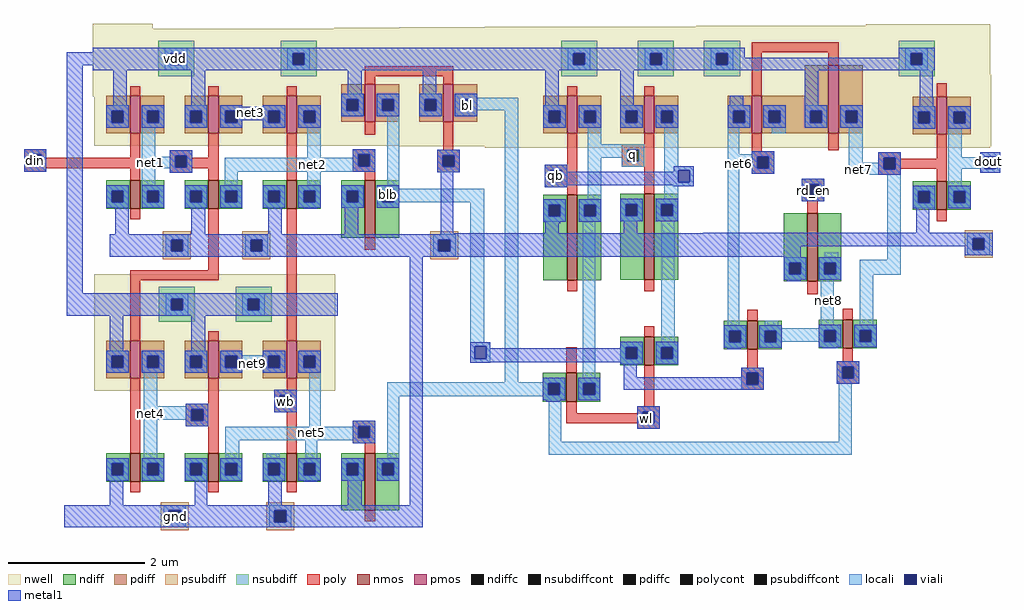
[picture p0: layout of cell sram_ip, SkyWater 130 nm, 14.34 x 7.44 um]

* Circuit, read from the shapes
.subckt sram_ip din wb gnd vdd blb bl qb q wl rd_en dout
XM1 net4 net1 gnd gnd sky130_fd_pr__nfet_01v8 w=0.42 l=0.15
XM2 net1 din gnd gnd sky130_fd_pr__nfet_01v8 w=0.42 l=0.15
XM3 net5 net4 gnd gnd sky130_fd_pr__nfet_01v8 w=0.42 l=0.15
XM4 net2 net1 gnd gnd sky130_fd_pr__nfet_01v8 w=0.42 l=0.15
XM5 net5 wb gnd gnd sky130_fd_pr__nfet_01v8 w=0.42 l=0.15
XM6 net2 wb gnd gnd sky130_fd_pr__nfet_01v8 w=0.42 l=0.15
XM7 bl net5 gnd gnd sky130_fd_pr__nfet_01v8 w=0.84 l=0.15
XM8 blb net2 gnd gnd sky130_fd_pr__nfet_01v8 w=0.84 l=0.15
XM9 q wl bl gnd sky130_fd_pr__nfet_01v8 w=0.42 l=0.15
XM10 q qb gnd gnd sky130_fd_pr__nfet_01v8 w=1.26 l=0.15
XM11 qb wl blb gnd sky130_fd_pr__nfet_01v8 w=0.42 l=0.15
XM12 qb q gnd gnd sky130_fd_pr__nfet_01v8 w=1.26 l=0.15
XM13 net8 blb net6 gnd sky130_fd_pr__nfet_01v8 w=0.42 l=0.15
XM14 net8 rd_en gnd gnd sky130_fd_pr__nfet_01v8 w=1 l=0.15
XM15 net7 bl net8 gnd sky130_fd_pr__nfet_01v8 w=0.42 l=0.15
XM16 dout net7 gnd gnd sky130_fd_pr__nfet_01v8 w=0.42 l=0.15
XM17 net4 net1 vdd vdd sky130_fd_pr__pfet_01v8 w=0.55 l=0.15
XM18 net1 din vdd vdd sky130_fd_pr__pfet_01v8 w=0.55 l=0.15
XM19 net9 net4 vdd vdd sky130_fd_pr__pfet_01v8 w=0.55 l=0.15
XM20 net3 net1 vdd vdd sky130_fd_pr__pfet_01v8 w=0.55 l=0.15
XM21 net5 wb net9 vdd sky130_fd_pr__pfet_01v8 w=0.55 l=0.15
XM22 net2 wb net3 vdd sky130_fd_pr__pfet_01v8 w=0.55 l=0.15
XM23 blb gnd vdd vdd sky130_fd_pr__pfet_01v8 w=0.55 l=0.15
XM24 bl gnd vdd vdd sky130_fd_pr__pfet_01v8 w=0.55 l=0.15
XM25 q qb vdd vdd sky130_fd_pr__pfet_01v8 w=0.55 l=0.15
XM26 qb q vdd vdd sky130_fd_pr__pfet_01v8 w=0.55 l=0.15
XM27 vdd net6 net6 vdd sky130_fd_pr__pfet_01v8 w=0.55 l=0.15
XM28 net7 net6 vdd vdd sky130_fd_pr__pfet_01v8 w=1 l=0.15
XM29 dout net7 vdd vdd sky130_fd_pr__pfet_01v8 w=0.55 l=0.15
.ends

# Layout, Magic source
magic
tech sky130A
<< nwell >>
rect -10 285 78 292
rect 1126 289 1309 291
rect 877 288 1309 289
rect 566 287 1309 288
rect 441 286 1309 287
rect 345 285 1309 286
rect -10 217 1309 285
rect -10 185 1310 217
rect -8 113 1310 185
rect 440 112 1310 113
rect 566 110 1309 112
rect -8 -247 346 -76
<< nmos >>
rect 45 20 60 62
rect 160 20 175 62
rect 275 20 290 62
rect 390 -22 405 62
rect 687 -85 702 41
rect 800 -84 815 42
rect 1230 19 1245 61
rect 1040 -86 1055 14
rect 800 -210 815 -168
rect 952 -186 967 -144
rect 1092 -185 1107 -143
rect 686 -263 701 -221
rect 45 -381 60 -339
rect 160 -381 175 -339
rect 275 -381 290 -339
rect 390 -423 405 -339
<< pmos >>
rect 45 131 60 186
rect 160 131 175 186
rect 275 131 290 186
rect 390 148 405 203
rect 505 148 520 203
rect 687 131 702 186
rect 800 131 815 186
rect 958 131 973 186
rect 1071 131 1086 231
rect 1230 130 1245 185
rect 45 -229 60 -174
rect 160 -229 175 -174
rect 275 -229 290 -174
<< ndiff >>
rect 10 47 45 62
rect 10 30 18 47
rect 35 30 45 47
rect 10 20 45 30
rect 60 47 95 62
rect 60 30 70 47
rect 87 30 95 47
rect 60 20 95 30
rect 125 47 160 62
rect 125 30 133 47
rect 150 30 160 47
rect 125 20 160 30
rect 175 47 210 62
rect 175 30 185 47
rect 202 30 210 47
rect 175 20 210 30
rect 240 47 275 62
rect 240 30 248 47
rect 265 30 275 47
rect 240 20 275 30
rect 290 47 325 62
rect 290 30 300 47
rect 317 30 325 47
rect 290 20 325 30
rect 355 47 390 62
rect 355 30 363 47
rect 380 30 390 47
rect 355 -22 390 30
rect 405 47 440 62
rect 405 30 415 47
rect 432 30 440 47
rect 405 -22 440 30
rect 652 26 687 41
rect 652 9 660 26
rect 677 9 687 26
rect 652 -85 687 9
rect 702 26 737 41
rect 702 9 712 26
rect 729 9 737 26
rect 702 -85 737 9
rect 765 27 800 42
rect 765 10 773 27
rect 790 10 800 27
rect 765 -84 800 10
rect 815 27 850 42
rect 1195 46 1230 61
rect 815 10 825 27
rect 842 10 850 27
rect 1195 29 1203 46
rect 1220 29 1230 46
rect 1195 19 1230 29
rect 1245 46 1280 61
rect 1245 29 1255 46
rect 1272 29 1280 46
rect 1245 19 1280 29
rect 815 -84 850 10
rect 1005 -59 1040 14
rect 1005 -76 1013 -59
rect 1030 -76 1040 -59
rect 1005 -86 1040 -76
rect 1055 -59 1090 14
rect 1055 -76 1065 -59
rect 1082 -76 1090 -59
rect 1055 -86 1090 -76
rect 917 -159 952 -144
rect 765 -183 800 -168
rect 765 -200 773 -183
rect 790 -200 800 -183
rect 765 -210 800 -200
rect 815 -183 850 -168
rect 815 -200 825 -183
rect 842 -200 850 -183
rect 917 -176 925 -159
rect 942 -176 952 -159
rect 917 -186 952 -176
rect 967 -159 1002 -144
rect 967 -176 977 -159
rect 994 -176 1002 -159
rect 967 -186 1002 -176
rect 1057 -158 1092 -143
rect 1057 -175 1065 -158
rect 1082 -175 1092 -158
rect 1057 -185 1092 -175
rect 1107 -158 1142 -143
rect 1107 -175 1117 -158
rect 1134 -175 1142 -158
rect 1107 -185 1142 -175
rect 815 -210 850 -200
rect 651 -236 686 -221
rect 651 -253 659 -236
rect 676 -253 686 -236
rect 651 -263 686 -253
rect 701 -236 736 -221
rect 701 -253 711 -236
rect 728 -253 736 -236
rect 701 -263 736 -253
rect 10 -354 45 -339
rect 10 -371 18 -354
rect 35 -371 45 -354
rect 10 -381 45 -371
rect 60 -354 95 -339
rect 60 -371 70 -354
rect 87 -371 95 -354
rect 60 -381 95 -371
rect 125 -354 160 -339
rect 125 -371 133 -354
rect 150 -371 160 -354
rect 125 -381 160 -371
rect 175 -354 210 -339
rect 175 -371 185 -354
rect 202 -371 210 -354
rect 175 -381 210 -371
rect 240 -354 275 -339
rect 240 -371 248 -354
rect 265 -371 275 -354
rect 240 -381 275 -371
rect 290 -354 325 -339
rect 290 -371 300 -354
rect 317 -371 325 -354
rect 290 -381 325 -371
rect 355 -354 390 -339
rect 355 -371 363 -354
rect 380 -371 390 -354
rect 355 -423 390 -371
rect 405 -354 440 -339
rect 405 -371 415 -354
rect 432 -371 440 -354
rect 405 -423 440 -371
<< pdiff >>
rect 10 164 45 186
rect 10 147 18 164
rect 35 147 45 164
rect 10 131 45 147
rect 60 164 95 186
rect 60 147 70 164
rect 87 147 95 164
rect 60 131 95 147
rect 125 164 160 186
rect 125 147 133 164
rect 150 147 160 164
rect 125 131 160 147
rect 175 164 210 186
rect 175 147 185 164
rect 202 147 210 164
rect 175 131 210 147
rect 240 164 275 186
rect 240 147 248 164
rect 265 147 275 164
rect 240 131 275 147
rect 290 164 325 186
rect 290 147 300 164
rect 317 147 325 164
rect 355 181 390 203
rect 355 164 363 181
rect 380 164 390 181
rect 355 148 390 164
rect 405 181 440 203
rect 405 164 415 181
rect 432 164 440 181
rect 405 148 440 164
rect 470 181 505 203
rect 470 164 478 181
rect 495 164 505 181
rect 470 148 505 164
rect 520 181 555 203
rect 1036 186 1071 231
rect 520 164 530 181
rect 547 164 555 181
rect 520 148 555 164
rect 652 164 687 186
rect 290 131 325 147
rect 652 147 660 164
rect 677 147 687 164
rect 652 131 687 147
rect 702 164 737 186
rect 702 147 712 164
rect 729 147 737 164
rect 702 131 737 147
rect 765 164 800 186
rect 765 147 773 164
rect 790 147 800 164
rect 765 131 800 147
rect 815 164 850 186
rect 815 147 825 164
rect 842 147 850 164
rect 815 131 850 147
rect 923 164 958 186
rect 923 147 931 164
rect 948 147 958 164
rect 923 131 958 147
rect 973 164 1071 186
rect 973 147 983 164
rect 1000 147 1044 164
rect 1061 147 1071 164
rect 973 131 1071 147
rect 1086 164 1121 231
rect 1086 147 1096 164
rect 1113 147 1121 164
rect 1086 131 1121 147
rect 1195 163 1230 185
rect 1195 146 1203 163
rect 1220 146 1230 163
rect 1195 130 1230 146
rect 1245 163 1280 185
rect 1245 146 1255 163
rect 1272 146 1280 163
rect 1245 130 1280 146
rect 10 -196 45 -174
rect 10 -213 18 -196
rect 35 -213 45 -196
rect 10 -229 45 -213
rect 60 -196 95 -174
rect 60 -213 70 -196
rect 87 -213 95 -196
rect 60 -229 95 -213
rect 125 -196 160 -174
rect 125 -213 133 -196
rect 150 -213 160 -196
rect 125 -229 160 -213
rect 175 -196 210 -174
rect 175 -213 185 -196
rect 202 -213 210 -196
rect 175 -229 210 -213
rect 240 -196 275 -174
rect 240 -213 248 -196
rect 265 -213 275 -196
rect 240 -229 275 -213
rect 290 -196 325 -174
rect 290 -213 300 -196
rect 317 -213 325 -196
rect 290 -229 325 -213
<< ndiffc >>
rect 18 30 35 47
rect 70 30 87 47
rect 133 30 150 47
rect 185 30 202 47
rect 248 30 265 47
rect 300 30 317 47
rect 363 30 380 47
rect 415 30 432 47
rect 660 9 677 26
rect 712 9 729 26
rect 773 10 790 27
rect 825 10 842 27
rect 1203 29 1220 46
rect 1255 29 1272 46
rect 1013 -76 1030 -59
rect 1065 -76 1082 -59
rect 773 -200 790 -183
rect 825 -200 842 -183
rect 925 -176 942 -159
rect 977 -176 994 -159
rect 1065 -175 1082 -158
rect 1117 -175 1134 -158
rect 659 -253 676 -236
rect 711 -253 728 -236
rect 18 -371 35 -354
rect 70 -371 87 -354
rect 133 -371 150 -354
rect 185 -371 202 -354
rect 248 -371 265 -354
rect 300 -371 317 -354
rect 363 -371 380 -354
rect 415 -371 432 -354
<< pdiffc >>
rect 18 147 35 164
rect 70 147 87 164
rect 133 147 150 164
rect 185 147 202 164
rect 248 147 265 164
rect 300 147 317 164
rect 363 164 380 181
rect 415 164 432 181
rect 478 164 495 181
rect 530 164 547 181
rect 660 147 677 164
rect 712 147 729 164
rect 773 147 790 164
rect 825 147 842 164
rect 931 147 948 164
rect 983 147 1000 164
rect 1044 147 1061 164
rect 1096 147 1113 164
rect 1203 146 1220 163
rect 1255 146 1272 163
rect 18 -213 35 -196
rect 70 -213 87 -196
rect 133 -213 150 -196
rect 185 -213 202 -196
rect 248 -213 265 -196
rect 300 -213 317 -196
<< psubdiff >>
rect 93 -25 134 -13
rect 93 -42 105 -25
rect 122 -42 134 -25
rect 93 -54 134 -42
rect 210 -25 251 -13
rect 210 -42 222 -25
rect 239 -42 251 -25
rect 210 -54 251 -42
rect 486 -25 527 -13
rect 486 -42 498 -25
rect 515 -42 527 -25
rect 486 -54 527 -42
rect 1271 -23 1312 -11
rect 1271 -40 1283 -23
rect 1300 -40 1312 -23
rect 1271 -52 1312 -40
rect 90 -423 131 -411
rect 90 -440 102 -423
rect 119 -440 131 -423
rect 90 -452 131 -440
rect 245 -423 286 -411
rect 245 -440 257 -423
rect 274 -440 286 -423
rect 245 -452 286 -440
<< nsubdiff >>
rect 86 249 139 267
rect 86 232 104 249
rect 121 232 139 249
rect 86 215 139 232
rect 266 249 319 267
rect 266 232 284 249
rect 301 232 319 249
rect 266 215 319 232
rect 678 249 731 267
rect 678 232 696 249
rect 713 232 731 249
rect 678 215 731 232
rect 791 249 844 267
rect 791 232 809 249
rect 826 232 844 249
rect 791 215 844 232
rect 888 249 941 267
rect 888 232 906 249
rect 923 232 941 249
rect 888 215 941 232
rect 1174 249 1227 267
rect 1174 232 1192 249
rect 1209 232 1227 249
rect 1174 215 1227 232
rect 87 -112 140 -94
rect 87 -129 105 -112
rect 122 -129 140 -112
rect 87 -146 140 -129
rect 200 -112 253 -94
rect 200 -129 218 -112
rect 235 -129 253 -112
rect 200 -146 253 -129
<< psubdiffcont >>
rect 105 -42 122 -25
rect 222 -42 239 -25
rect 498 -42 515 -25
rect 1283 -40 1300 -23
rect 102 -440 119 -423
rect 257 -440 274 -423
<< nsubdiffcont >>
rect 104 232 121 249
rect 284 232 301 249
rect 696 232 713 249
rect 809 232 826 249
rect 906 232 923 249
rect 1192 232 1209 249
rect 105 -129 122 -112
rect 218 -129 235 -112
<< poly >>
rect 390 215 520 230
rect 958 250 1086 265
rect 390 203 405 215
rect 505 203 520 215
rect 45 186 60 200
rect 160 186 175 200
rect 275 186 290 200
rect 687 186 702 200
rect 800 186 815 200
rect 958 186 973 250
rect 1071 231 1086 250
rect -111 100 -78 108
rect -111 83 -103 100
rect -86 95 -78 100
rect 45 95 60 131
rect -86 83 60 95
rect -111 80 60 83
rect -111 75 -78 80
rect 45 62 60 80
rect 103 98 136 106
rect 103 81 111 98
rect 128 95 136 98
rect 160 95 175 131
rect 128 81 175 95
rect 103 80 175 81
rect 103 73 136 80
rect 160 62 175 80
rect 275 62 290 131
rect 390 129 405 148
rect 372 100 405 108
rect 505 107 520 148
rect 1230 185 1245 205
rect 372 83 380 100
rect 397 83 405 100
rect 372 75 405 83
rect 390 62 405 75
rect 496 99 529 107
rect 496 82 504 99
rect 521 82 529 99
rect 687 85 702 131
rect 800 115 815 131
rect 496 74 529 82
rect 654 77 702 85
rect 767 107 815 115
rect 767 90 775 107
rect 792 90 815 107
rect 767 82 815 90
rect 45 5 60 20
rect 160 -70 175 20
rect 45 -85 175 -70
rect 45 -174 60 -85
rect 160 -174 175 -160
rect 275 -174 290 20
rect 654 60 662 77
rect 679 60 702 77
rect 654 52 702 60
rect 687 41 702 52
rect 800 42 815 82
rect 958 105 973 131
rect 1071 106 1086 131
rect 958 97 991 105
rect 958 80 966 97
rect 983 80 991 97
rect 958 72 991 80
rect 1144 95 1177 103
rect 1144 78 1152 95
rect 1169 94 1177 95
rect 1230 94 1245 130
rect 1169 79 1245 94
rect 1169 78 1177 79
rect 1144 70 1177 78
rect 1032 56 1065 64
rect 1230 61 1245 79
rect 390 -40 405 -22
rect 1032 39 1040 56
rect 1057 39 1065 56
rect 1032 31 1065 39
rect 1040 14 1055 31
rect 687 -101 702 -85
rect 800 -101 815 -84
rect 1230 2 1245 19
rect 1040 -105 1055 -86
rect 952 -144 967 -128
rect 1092 -143 1107 -127
rect 800 -168 815 -152
rect 686 -221 701 -183
rect 45 -339 60 -229
rect 160 -266 175 -229
rect 275 -246 290 -229
rect 127 -274 175 -266
rect 127 -291 135 -274
rect 152 -291 175 -274
rect 257 -254 290 -246
rect 257 -271 265 -254
rect 282 -271 290 -254
rect 257 -279 290 -271
rect 127 -299 175 -291
rect 160 -339 175 -299
rect 275 -339 290 -279
rect 686 -280 701 -263
rect 800 -270 815 -210
rect 952 -213 967 -186
rect 1092 -204 1107 -185
rect 1083 -212 1116 -204
rect 943 -221 976 -213
rect 943 -238 951 -221
rect 968 -238 976 -221
rect 1083 -229 1091 -212
rect 1108 -229 1116 -212
rect 1083 -237 1116 -229
rect 943 -246 976 -238
rect 790 -278 823 -270
rect 790 -280 798 -278
rect 372 -299 405 -291
rect 686 -295 798 -280
rect 815 -295 823 -278
rect 372 -316 380 -299
rect 397 -316 405 -299
rect 790 -303 823 -295
rect 372 -324 405 -316
rect 390 -339 405 -324
rect 45 -396 60 -381
rect 160 -396 175 -381
rect 275 -396 290 -381
rect 390 -439 405 -423
<< polycont >>
rect -103 83 -86 100
rect 111 81 128 98
rect 380 83 397 100
rect 504 82 521 99
rect 775 90 792 107
rect 662 60 679 77
rect 966 80 983 97
rect 1152 78 1169 95
rect 1040 39 1057 56
rect 135 -291 152 -274
rect 265 -271 282 -254
rect 951 -238 968 -221
rect 1091 -229 1108 -212
rect 798 -295 815 -278
rect 380 -316 397 -299
<< locali >>
rect 96 249 129 257
rect 96 232 104 249
rect 121 232 129 249
rect 96 224 129 232
rect 276 249 309 257
rect 276 232 284 249
rect 301 232 309 249
rect 276 224 309 232
rect 688 249 721 257
rect 688 232 696 249
rect 713 232 721 249
rect 688 224 721 232
rect 801 249 834 257
rect 801 232 809 249
rect 826 232 834 249
rect 801 224 834 232
rect 898 249 931 257
rect 898 232 906 249
rect 923 232 931 249
rect 898 224 931 232
rect 1184 249 1217 257
rect 1184 232 1192 249
rect 1209 232 1217 249
rect 1184 224 1217 232
rect 355 181 388 189
rect 10 164 43 172
rect 10 147 18 164
rect 35 147 43 164
rect 10 139 43 147
rect 62 164 95 172
rect 62 147 70 164
rect 87 147 95 164
rect 62 139 95 147
rect 125 164 158 172
rect 125 147 133 164
rect 150 147 158 164
rect 125 139 158 147
rect 177 164 210 172
rect 177 147 185 164
rect 202 147 210 164
rect 177 139 210 147
rect 240 164 273 172
rect 240 147 248 164
rect 265 147 273 164
rect 240 139 273 147
rect 292 164 325 172
rect 292 147 300 164
rect 317 147 325 164
rect 355 164 363 181
rect 380 164 388 181
rect 355 156 388 164
rect 407 181 440 189
rect 407 164 415 181
rect 432 164 440 181
rect 407 156 440 164
rect 470 181 503 189
rect 470 164 478 181
rect 495 164 503 181
rect 470 156 503 164
rect 522 183 555 189
rect 522 181 615 183
rect 522 164 530 181
rect 547 165 615 181
rect 547 164 555 165
rect 522 156 555 164
rect 292 139 325 147
rect -111 100 -78 108
rect -111 83 -103 100
rect -86 83 -78 100
rect -111 75 -78 83
rect 62 97 82 139
rect 103 98 136 106
rect 103 97 111 98
rect 62 81 111 97
rect 128 81 136 98
rect 305 95 325 139
rect 372 100 405 108
rect 372 95 380 100
rect 62 80 136 81
rect 62 55 82 80
rect 103 73 136 80
rect 184 83 380 95
rect 397 83 405 100
rect 184 75 405 83
rect 184 55 203 75
rect 305 55 325 75
rect 423 55 440 156
rect 496 99 529 107
rect 496 82 504 99
rect 521 82 529 99
rect 496 74 529 82
rect 10 47 43 55
rect 10 30 18 47
rect 35 30 43 47
rect 10 22 43 30
rect 62 47 95 55
rect 62 30 70 47
rect 87 30 95 47
rect 62 22 95 30
rect 125 47 158 55
rect 125 30 133 47
rect 150 30 158 47
rect 125 22 158 30
rect 177 47 210 55
rect 177 30 185 47
rect 202 30 210 47
rect 177 22 210 30
rect 240 47 273 55
rect 240 30 248 47
rect 265 30 273 47
rect 240 22 273 30
rect 292 47 325 55
rect 292 30 300 47
rect 317 30 325 47
rect 292 22 325 30
rect 355 47 388 55
rect 355 30 363 47
rect 380 30 388 47
rect 355 22 388 30
rect 407 50 440 55
rect 407 47 565 50
rect 407 30 415 47
rect 432 30 565 47
rect 407 22 440 30
rect 97 -25 130 -17
rect 97 -42 105 -25
rect 122 -42 130 -25
rect 97 -50 130 -42
rect 214 -25 247 -17
rect 214 -42 222 -25
rect 239 -42 247 -25
rect 214 -50 247 -42
rect 490 -25 523 -17
rect 490 -42 498 -25
rect 515 -42 523 -25
rect 490 -50 523 -42
rect 97 -112 130 -104
rect 97 -129 105 -112
rect 122 -129 130 -112
rect 97 -137 130 -129
rect 210 -112 243 -104
rect 210 -129 218 -112
rect 235 -129 243 -112
rect 210 -137 243 -129
rect 545 -176 565 30
rect 545 -182 574 -176
rect 10 -196 43 -188
rect 10 -213 18 -196
rect 35 -213 43 -196
rect 10 -221 43 -213
rect 62 -196 95 -188
rect 62 -213 70 -196
rect 87 -213 95 -196
rect 62 -221 95 -213
rect 125 -196 158 -188
rect 125 -213 133 -196
rect 150 -213 158 -196
rect 125 -221 158 -213
rect 177 -195 210 -188
rect 240 -195 273 -188
rect 177 -196 273 -195
rect 177 -213 185 -196
rect 202 -213 248 -196
rect 265 -213 273 -196
rect 177 -215 273 -213
rect 177 -221 210 -215
rect 240 -221 273 -215
rect 292 -196 325 -188
rect 292 -213 300 -196
rect 317 -213 325 -196
rect 545 -200 551 -182
rect 568 -200 574 -182
rect 545 -206 574 -200
rect 292 -221 325 -213
rect 65 -270 85 -221
rect 257 -254 290 -246
rect 127 -270 160 -266
rect 65 -274 160 -270
rect 65 -290 135 -274
rect 65 -346 85 -290
rect 127 -291 135 -290
rect 152 -291 160 -274
rect 257 -271 265 -254
rect 282 -271 290 -254
rect 257 -279 290 -271
rect 127 -299 160 -291
rect 308 -300 325 -221
rect 595 -235 615 165
rect 652 164 685 172
rect 652 147 660 164
rect 677 147 685 164
rect 652 139 685 147
rect 704 164 737 172
rect 704 147 712 164
rect 729 147 737 164
rect 704 139 737 147
rect 765 164 798 172
rect 765 147 773 164
rect 790 147 798 164
rect 765 139 798 147
rect 817 164 850 172
rect 817 147 825 164
rect 842 147 850 164
rect 817 139 850 147
rect 717 115 737 139
rect 717 107 800 115
rect 717 95 775 107
rect 654 77 687 85
rect 654 60 662 77
rect 679 60 687 77
rect 654 52 687 60
rect 717 34 737 95
rect 767 90 775 95
rect 792 90 800 107
rect 767 82 800 90
rect 830 83 850 139
rect 923 164 956 172
rect 923 147 931 164
rect 948 147 956 164
rect 923 139 956 147
rect 975 164 1008 172
rect 975 147 983 164
rect 1000 147 1008 164
rect 975 139 1008 147
rect 1036 164 1069 172
rect 1036 147 1044 164
rect 1061 147 1069 164
rect 1036 139 1069 147
rect 1088 164 1121 172
rect 1088 147 1096 164
rect 1113 147 1121 164
rect 1088 139 1121 147
rect 923 100 940 139
rect 988 131 1008 139
rect 958 100 991 105
rect 923 97 991 100
rect 830 77 873 83
rect 830 59 850 77
rect 867 59 873 77
rect 830 53 873 59
rect 923 80 966 97
rect 983 80 991 97
rect 830 35 850 53
rect 652 26 685 34
rect 652 9 660 26
rect 677 9 685 26
rect 652 1 685 9
rect 704 26 737 34
rect 704 9 712 26
rect 729 9 737 26
rect 704 1 737 9
rect 765 27 798 35
rect 765 10 773 27
rect 790 10 798 27
rect 765 2 798 10
rect 817 27 850 35
rect 817 10 825 27
rect 842 10 850 27
rect 817 2 850 10
rect 710 -228 728 1
rect 825 -175 845 2
rect 923 -151 940 80
rect 958 72 991 80
rect 1101 88 1121 139
rect 1195 163 1228 171
rect 1195 146 1203 163
rect 1220 146 1228 163
rect 1195 138 1228 146
rect 1247 163 1280 171
rect 1247 146 1255 163
rect 1272 146 1280 163
rect 1247 138 1280 146
rect 1144 95 1177 103
rect 1144 88 1152 95
rect 1101 78 1152 88
rect 1169 78 1177 95
rect 1101 70 1177 78
rect 1032 56 1065 64
rect 1032 39 1040 56
rect 1057 39 1065 56
rect 1032 31 1065 39
rect 1065 -51 1085 -44
rect 1005 -59 1038 -51
rect 1005 -76 1013 -59
rect 1030 -76 1038 -59
rect 1005 -84 1038 -76
rect 1057 -59 1090 -51
rect 1157 -55 1177 70
rect 1247 96 1267 138
rect 1294 97 1323 103
rect 1294 96 1300 97
rect 1247 79 1300 96
rect 1317 79 1323 97
rect 1247 54 1267 79
rect 1294 73 1323 79
rect 1195 46 1228 54
rect 1195 29 1203 46
rect 1220 29 1228 46
rect 1195 21 1228 29
rect 1247 46 1280 54
rect 1247 29 1255 46
rect 1272 29 1280 46
rect 1247 21 1280 29
rect 1275 -23 1308 -15
rect 1275 -40 1283 -23
rect 1300 -40 1308 -23
rect 1275 -48 1308 -40
rect 1057 -76 1065 -59
rect 1082 -76 1090 -59
rect 1057 -84 1090 -76
rect 1117 -77 1177 -55
rect 977 -151 997 -144
rect 1060 -150 1079 -84
rect 1117 -150 1137 -77
rect 917 -159 950 -151
rect 765 -183 798 -175
rect 765 -200 773 -183
rect 790 -200 798 -183
rect 765 -208 798 -200
rect 817 -183 850 -175
rect 817 -200 825 -183
rect 842 -200 850 -183
rect 917 -176 925 -159
rect 942 -176 950 -159
rect 917 -184 950 -176
rect 969 -155 1002 -151
rect 1057 -155 1090 -150
rect 969 -158 1090 -155
rect 969 -159 1065 -158
rect 969 -176 977 -159
rect 994 -175 1065 -159
rect 1082 -175 1090 -158
rect 994 -176 1002 -175
rect 969 -184 1002 -176
rect 1057 -183 1090 -175
rect 1109 -158 1142 -150
rect 1109 -175 1117 -158
rect 1134 -175 1142 -158
rect 1109 -183 1142 -175
rect 1065 -185 1085 -183
rect 817 -208 850 -200
rect 1083 -212 1116 -204
rect 943 -221 976 -213
rect 651 -235 684 -228
rect 423 -236 684 -235
rect 423 -253 659 -236
rect 676 -253 684 -236
rect 423 -255 684 -253
rect 372 -299 405 -291
rect 372 -300 380 -299
rect 185 -316 380 -300
rect 397 -316 405 -299
rect 185 -320 405 -316
rect 185 -346 205 -320
rect 245 -346 265 -339
rect 302 -346 320 -320
rect 372 -324 405 -320
rect 423 -346 440 -255
rect 651 -261 684 -255
rect 703 -236 736 -228
rect 703 -253 711 -236
rect 728 -253 736 -236
rect 943 -238 951 -221
rect 968 -238 976 -221
rect 1083 -229 1091 -212
rect 1108 -229 1116 -212
rect 1083 -237 1116 -229
rect 943 -246 976 -238
rect 703 -261 736 -253
rect 660 -322 678 -261
rect 790 -278 823 -270
rect 790 -295 798 -278
rect 815 -295 823 -278
rect 790 -303 823 -295
rect 1086 -322 1105 -237
rect 660 -341 1105 -322
rect 10 -354 43 -346
rect 10 -371 18 -354
rect 35 -371 43 -354
rect 10 -379 43 -371
rect 62 -354 95 -346
rect 62 -371 70 -354
rect 87 -371 95 -354
rect 62 -379 95 -371
rect 125 -354 158 -346
rect 125 -371 133 -354
rect 150 -371 158 -354
rect 125 -379 158 -371
rect 177 -354 210 -346
rect 177 -371 185 -354
rect 202 -371 210 -354
rect 177 -379 210 -371
rect 240 -354 273 -346
rect 240 -371 248 -354
rect 265 -371 273 -354
rect 240 -379 273 -371
rect 292 -354 325 -346
rect 292 -371 300 -354
rect 317 -371 325 -354
rect 292 -379 325 -371
rect 355 -354 388 -346
rect 355 -371 363 -354
rect 380 -371 388 -354
rect 355 -379 388 -371
rect 407 -354 440 -346
rect 407 -371 415 -354
rect 432 -371 440 -354
rect 407 -379 440 -371
rect 94 -423 127 -415
rect 94 -440 102 -423
rect 119 -440 127 -423
rect 94 -448 127 -440
rect 249 -423 282 -415
rect 249 -440 257 -423
rect 274 -440 282 -423
rect 249 -448 282 -440
<< viali >>
rect 104 232 121 249
rect 284 232 301 249
rect 696 232 713 249
rect 809 232 826 249
rect 906 232 923 249
rect 1192 232 1209 249
rect 18 147 35 164
rect 70 147 87 164
rect 133 147 150 164
rect 185 147 202 164
rect 248 147 265 164
rect 300 147 317 164
rect 363 164 380 181
rect 415 164 432 181
rect 478 164 495 181
rect 530 164 547 181
rect -103 83 -86 100
rect 111 81 128 98
rect 380 83 397 100
rect 504 82 521 99
rect 18 30 35 47
rect 70 30 87 47
rect 133 30 150 47
rect 185 30 202 47
rect 248 30 265 47
rect 300 30 317 47
rect 363 30 380 47
rect 415 30 432 47
rect 105 -42 122 -25
rect 222 -42 239 -25
rect 498 -42 515 -25
rect 105 -129 122 -112
rect 218 -129 235 -112
rect 18 -213 35 -196
rect 70 -213 87 -196
rect 133 -213 150 -196
rect 185 -213 202 -196
rect 248 -213 265 -196
rect 300 -213 317 -196
rect 551 -200 568 -182
rect 135 -291 152 -274
rect 265 -271 282 -254
rect 660 147 677 164
rect 712 147 729 164
rect 773 147 790 164
rect 825 147 842 164
rect 662 60 679 77
rect 931 147 948 164
rect 983 147 1000 164
rect 1044 147 1061 164
rect 1096 147 1113 164
rect 850 59 867 77
rect 966 80 983 97
rect 660 9 677 26
rect 712 9 729 26
rect 773 10 790 27
rect 825 10 842 27
rect 1203 146 1220 163
rect 1255 146 1272 163
rect 1152 78 1169 95
rect 1040 39 1057 56
rect 1013 -76 1030 -59
rect 1300 79 1317 97
rect 1203 29 1220 46
rect 1255 29 1272 46
rect 1283 -40 1300 -23
rect 1065 -76 1082 -59
rect 773 -200 790 -183
rect 825 -200 842 -183
rect 925 -176 942 -159
rect 977 -176 994 -159
rect 1065 -175 1082 -158
rect 1117 -175 1134 -158
rect 659 -253 676 -236
rect 380 -316 397 -299
rect 711 -253 728 -236
rect 951 -238 968 -221
rect 1091 -229 1108 -212
rect 798 -295 815 -278
rect 18 -371 35 -354
rect 70 -371 87 -354
rect 133 -371 150 -354
rect 185 -371 202 -354
rect 248 -371 265 -354
rect 300 -371 317 -354
rect 363 -371 380 -354
rect 415 -371 432 -354
rect 102 -440 119 -423
rect 257 -440 274 -423
<< metal1 >>
rect -10 250 948 257
rect -48 249 948 250
rect -48 232 104 249
rect 121 232 284 249
rect 301 232 696 249
rect 713 232 809 249
rect 826 232 906 249
rect 923 242 948 249
rect 1174 249 1227 257
rect 1174 242 1192 249
rect 923 232 1192 242
rect 1209 232 1227 249
rect -48 231 1227 232
rect -111 100 -78 108
rect -111 83 -103 100
rect -86 83 -78 100
rect -111 75 -78 83
rect -48 -104 -25 231
rect -10 224 1227 231
rect 20 172 40 224
rect 135 172 155 224
rect 365 189 385 224
rect 475 189 495 224
rect 355 181 388 189
rect 10 164 43 172
rect 10 147 18 164
rect 35 147 43 164
rect 10 139 43 147
rect 62 164 95 172
rect 62 147 70 164
rect 87 147 95 164
rect 62 139 95 147
rect 125 164 158 172
rect 125 147 133 164
rect 150 147 158 164
rect 125 139 158 147
rect 177 170 210 172
rect 240 170 273 172
rect 177 164 273 170
rect 177 147 185 164
rect 202 150 248 164
rect 202 147 210 150
rect 177 139 210 147
rect 240 147 248 150
rect 265 147 273 164
rect 240 139 273 147
rect 292 164 325 172
rect 292 147 300 164
rect 317 147 325 164
rect 355 164 363 181
rect 380 164 388 181
rect 355 156 388 164
rect 407 181 440 189
rect 407 164 415 181
rect 432 164 440 181
rect 407 156 440 164
rect 470 181 503 189
rect 470 164 478 181
rect 495 164 503 181
rect 470 156 503 164
rect 522 181 555 189
rect 522 164 530 181
rect 547 164 555 181
rect 655 172 675 224
rect 765 172 785 224
rect 926 172 946 186
rect 1036 172 1056 224
rect 1205 185 1224 224
rect 522 156 555 164
rect 652 164 685 172
rect 292 139 325 147
rect 652 147 660 164
rect 677 147 685 164
rect 652 139 685 147
rect 704 164 737 172
rect 704 147 712 164
rect 729 147 737 164
rect 704 139 737 147
rect 765 164 798 172
rect 765 147 773 164
rect 790 147 798 164
rect 765 139 798 147
rect 817 164 850 172
rect 817 147 825 164
rect 842 147 850 164
rect 817 139 850 147
rect 923 164 956 172
rect 923 147 931 164
rect 948 147 956 164
rect 923 139 956 147
rect 975 164 1008 172
rect 975 147 983 164
rect 1000 147 1008 164
rect 975 139 1008 147
rect 1036 164 1069 172
rect 1036 147 1044 164
rect 1061 147 1069 164
rect 1036 139 1069 147
rect 1088 164 1121 172
rect 1205 171 1225 185
rect 1088 147 1096 164
rect 1113 147 1121 164
rect 1088 139 1121 147
rect 1195 163 1228 171
rect 1195 146 1203 163
rect 1220 146 1228 163
rect 1195 138 1228 146
rect 1247 163 1280 171
rect 1247 146 1255 163
rect 1272 146 1280 163
rect 1247 138 1280 146
rect 103 98 136 106
rect 103 81 111 98
rect 128 81 136 98
rect 103 73 136 81
rect 372 100 405 108
rect 372 83 380 100
rect 397 83 405 100
rect 372 75 405 83
rect 496 99 529 107
rect 496 82 504 99
rect 521 82 529 99
rect 958 97 991 105
rect 496 74 529 82
rect 654 77 687 85
rect 10 47 43 55
rect 10 30 18 47
rect 35 30 43 47
rect 10 22 43 30
rect 62 47 95 55
rect 62 30 70 47
rect 87 30 95 47
rect 62 22 95 30
rect 125 47 158 55
rect 125 30 133 47
rect 150 30 158 47
rect 125 22 158 30
rect 177 47 210 55
rect 177 30 185 47
rect 202 30 210 47
rect 177 22 210 30
rect 240 47 273 55
rect 240 30 248 47
rect 265 30 273 47
rect 240 22 273 30
rect 292 47 325 55
rect 292 30 300 47
rect 317 30 325 47
rect 292 22 325 30
rect 355 47 388 55
rect 355 30 363 47
rect 380 30 388 47
rect 355 22 388 30
rect 407 47 440 55
rect 407 30 415 47
rect 432 30 440 47
rect 407 22 440 30
rect 23 -17 43 22
rect 135 -17 155 22
rect 248 -17 268 22
rect 300 20 320 22
rect 360 -17 380 22
rect 501 -16 520 74
rect 654 60 662 77
rect 679 75 687 77
rect 844 77 873 83
rect 844 75 850 77
rect 679 60 850 75
rect 654 59 850 60
rect 867 59 873 77
rect 958 80 966 97
rect 983 80 991 97
rect 958 72 991 80
rect 1144 95 1177 103
rect 1144 78 1152 95
rect 1169 78 1177 95
rect 1144 70 1177 78
rect 1294 97 1323 103
rect 1294 79 1300 97
rect 1317 79 1323 97
rect 1294 73 1323 79
rect 654 55 873 59
rect 654 52 687 55
rect 844 53 873 55
rect 1032 56 1065 64
rect 1032 39 1040 56
rect 1057 39 1065 56
rect 652 26 685 34
rect 652 9 660 26
rect 677 9 685 26
rect 652 1 685 9
rect 704 26 737 34
rect 704 9 712 26
rect 729 9 737 26
rect 704 1 737 9
rect 765 27 798 35
rect 765 10 773 27
rect 790 10 798 27
rect 765 2 798 10
rect 817 27 850 35
rect 1032 31 1065 39
rect 1195 46 1228 54
rect 817 10 825 27
rect 842 10 850 27
rect 1195 29 1203 46
rect 1220 29 1228 46
rect 1195 21 1228 29
rect 1247 46 1280 54
rect 1247 29 1255 46
rect 1272 29 1280 46
rect 1247 21 1280 29
rect 817 2 850 10
rect 1200 19 1228 21
rect 655 -1 677 1
rect 655 -16 675 -1
rect 770 -16 790 2
rect 1200 -15 1219 19
rect 886 -16 1312 -15
rect 501 -17 1312 -16
rect 15 -23 1312 -17
rect 15 -25 1283 -23
rect 15 -42 105 -25
rect 122 -42 222 -25
rect 239 -42 498 -25
rect 515 -35 1283 -25
rect 515 -42 1030 -35
rect 15 -50 1030 -42
rect 1271 -40 1283 -35
rect 1300 -40 1312 -23
rect 1271 -48 1312 -40
rect -48 -112 350 -104
rect -48 -129 105 -112
rect 122 -129 218 -112
rect 235 -129 350 -112
rect -48 -137 350 -129
rect 15 -188 35 -137
rect 135 -188 155 -137
rect 10 -196 43 -188
rect 10 -213 18 -196
rect 35 -213 43 -196
rect 10 -221 43 -213
rect 62 -196 95 -188
rect 62 -213 70 -196
rect 87 -213 95 -196
rect 62 -221 95 -213
rect 125 -196 158 -188
rect 125 -213 133 -196
rect 150 -213 158 -196
rect 125 -221 158 -213
rect 177 -196 210 -188
rect 177 -213 185 -196
rect 202 -213 210 -196
rect 177 -221 210 -213
rect 240 -196 273 -188
rect 240 -213 248 -196
rect 265 -213 273 -196
rect 240 -221 273 -213
rect 292 -196 325 -188
rect 292 -213 300 -196
rect 317 -213 325 -196
rect 292 -221 325 -213
rect 257 -254 290 -246
rect 127 -274 160 -266
rect 127 -291 135 -274
rect 152 -291 160 -274
rect 257 -271 265 -254
rect 282 -271 290 -254
rect 257 -279 290 -271
rect 127 -299 160 -291
rect 372 -299 405 -291
rect 372 -316 380 -299
rect 397 -316 405 -299
rect 372 -324 405 -316
rect 10 -354 43 -346
rect 10 -371 18 -354
rect 35 -371 43 -354
rect 10 -379 43 -371
rect 62 -354 95 -346
rect 62 -371 70 -354
rect 87 -371 95 -354
rect 62 -379 95 -371
rect 125 -354 158 -346
rect 125 -371 133 -354
rect 150 -371 158 -354
rect 125 -379 158 -371
rect 177 -354 210 -346
rect 177 -371 185 -354
rect 202 -371 210 -354
rect 177 -379 210 -371
rect 240 -354 273 -346
rect 240 -371 248 -354
rect 265 -371 273 -354
rect 240 -379 273 -371
rect 292 -354 325 -346
rect 292 -371 300 -354
rect 317 -371 325 -354
rect 292 -379 325 -371
rect 355 -354 388 -346
rect 355 -371 363 -354
rect 380 -371 388 -354
rect 355 -379 388 -371
rect 407 -354 440 -346
rect 407 -371 415 -354
rect 432 -371 440 -354
rect 407 -379 440 -371
rect 15 -415 35 -379
rect 140 -415 158 -379
rect 248 -415 268 -379
rect 300 -381 320 -379
rect 365 -415 385 -379
rect 456 -415 475 -50
rect 1005 -51 1030 -50
rect 1005 -59 1038 -51
rect 1005 -76 1013 -59
rect 1030 -76 1038 -59
rect 1005 -84 1038 -76
rect 1057 -59 1090 -51
rect 1057 -76 1065 -59
rect 1082 -76 1090 -59
rect 1057 -84 1090 -76
rect 1010 -86 1030 -84
rect 917 -159 950 -151
rect 545 -182 574 -176
rect 545 -200 551 -182
rect 568 -185 574 -182
rect 765 -183 798 -175
rect 765 -185 773 -183
rect 568 -200 773 -185
rect 790 -200 798 -183
rect 545 -205 798 -200
rect 545 -206 574 -205
rect 765 -208 798 -205
rect 817 -183 850 -175
rect 817 -200 825 -183
rect 842 -200 850 -183
rect 917 -176 925 -159
rect 942 -176 950 -159
rect 917 -184 950 -176
rect 969 -159 1002 -151
rect 969 -176 977 -159
rect 994 -176 1002 -159
rect 969 -184 1002 -176
rect 1057 -158 1090 -150
rect 1057 -175 1065 -158
rect 1082 -175 1090 -158
rect 1057 -183 1090 -175
rect 1109 -158 1142 -150
rect 1109 -175 1117 -158
rect 1134 -175 1142 -158
rect 1109 -183 1142 -175
rect 922 -186 942 -184
rect 1062 -185 1082 -183
rect 817 -208 850 -200
rect 770 -210 790 -208
rect 770 -227 789 -210
rect 1083 -212 1116 -204
rect 943 -221 976 -213
rect 943 -227 951 -221
rect 651 -236 684 -228
rect 651 -253 659 -236
rect 676 -253 684 -236
rect 651 -261 684 -253
rect 703 -236 736 -228
rect 703 -253 711 -236
rect 728 -253 736 -236
rect 770 -238 951 -227
rect 968 -238 976 -221
rect 1083 -229 1091 -212
rect 1108 -229 1116 -212
rect 1083 -237 1116 -229
rect 770 -246 976 -238
rect 703 -261 736 -253
rect 656 -263 676 -261
rect 790 -278 823 -270
rect 790 -295 798 -278
rect 815 -295 823 -278
rect 790 -303 823 -295
rect -52 -423 475 -415
rect -52 -440 102 -423
rect 119 -440 257 -423
rect 274 -440 475 -423
rect -52 -448 475 -440
<< labels >>
flabel locali s -98 87 -90 96 0 FreeSans 400 0 0 0 din
port 0 nsew
flabel locali s 269 -268 277 -259 0 FreeSans 400 0 0 0 wb
port 1 nsew
flabel metal1 s 107 -436 115 -427 0 FreeSans 400 0 0 0 gnd
port 2 nsew
flabel metal1 s 108 237 116 246 0 FreeSans 400 0 0 0 vdd
port 3 nsew
flabel locali s 420 36 428 45 0 FreeSans 400 0 0 0 blb
port 4 nsew
flabel locali s 536 168 544 177 0 FreeSans 400 0 0 0 bl
port 5 nsew
flabel locali s 666 64 674 73 0 FreeSans 400 0 0 0 qb
port 6 nsew
flabel locali s 779 95 787 104 0 FreeSans 400 0 0 0 q
port 7 nsew
flabel locali s 800 -292 808 -283 0 FreeSans 400 0 0 0 wl
port 8 nsew
flabel locali s 1045 42 1053 51 0 FreeSans 400 0 0 0 rd_en
port 9 nsew
flabel locali s 1302 85 1310 94 0 FreeSans 400 0 0 0 dout
port 10 nsew
flabel locali 72 84 79 92 0 FreeSans 200 0 0 0 net1
flabel locali 310 81 317 89 0 FreeSans 200 0 0 0 net2
flabel metal1 218 157 225 165 0 FreeSans 200 0 0 0 net3
flabel locali 71 -285 78 -277 0 FreeSans 200 0 0 0 net4
flabel locali 308 -312 315 -304 0 FreeSans 200 0 0 0 net5
flabel locali 930 83 947 91 0 FreeSans 200 0 0 0 net6
flabel locali 1106 74 1123 82 0 FreeSans 200 0 0 0 net7
flabel locali 1068 -124 1075 -105 0 FreeSans 200 0 0 0 net8
flabel locali 217 -210 231 -204 0 FreeSans 200 0 0 0 net9
<< end >>
